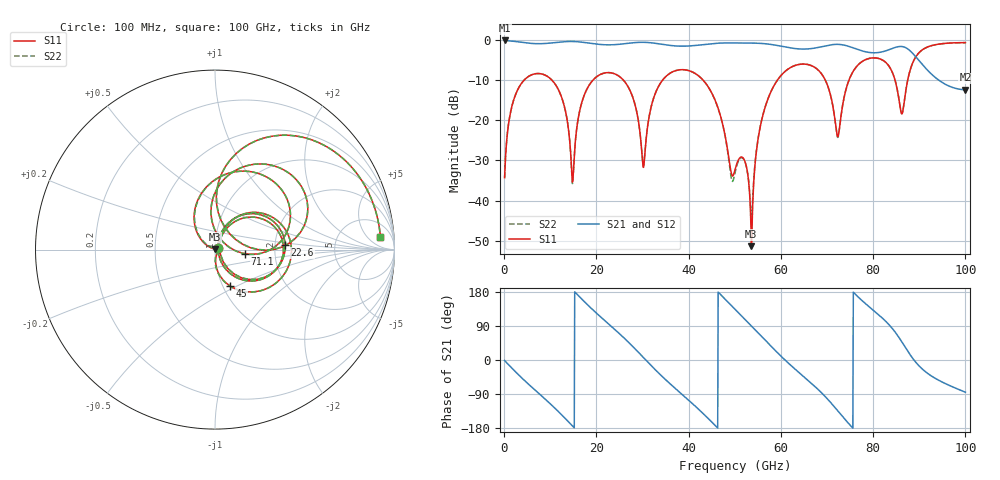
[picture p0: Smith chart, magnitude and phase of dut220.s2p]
! Touchstone file exported from HFSS 2026.1.0
!  File:  C:/ffzhzh/LocalFiles/Ansys_Project_Files/temp_train_TSV_RDL_220_1783662674_33328.aedt
!  Generated:  02:01:26 PM Jul 10, 2026
!  Design:  TSV_RDL
!  Project:  temp_train_TSV_RDL_220_1783662674_33328
! Variables:
!  h_bsmrdl = 4.4um
!  h_ox = 20um
!  h_rdl = 5um
!  h_sub = 69.68um
!  h_tmrdl = 2.47um
!  h_tsv = 69.68um
!  h_via = 3um
!  l_bsmrdl = 662.06um
!  l_sub = 3972.49um
!  l_tmrdl = 359.94um
!  m_sub = 200um
!  pitch = 43.27um
!  r_tsv = 12.16um
!  s_tmrdl = 10um
!  w_bsmrdl = 23.26um
!  w_sub = 500um
!  w_tmrdl = 25.59um
!  x_tsv_center1 = 372.735um
!  x_tsv_center2 = 1058.055um
!  x_tsv_center3 = 1443.585um
!  x_tsv_center4 = 2128.905um
!  x_tsv_center5 = 2514.435um
!  x_tsv_center6 = 3199.755um
# GHz S MA R 50.000000
! Terminal data exported
! Port[1] = TM_RDL1_1_T1
! Port[2] = TM_RDL5_1_T1
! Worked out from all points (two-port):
!   1000 points, 100 MHz to 100 GHz, reference 50 ohm
!   highest |S21| = -0.14 dB at 100 MHz (marker M1); lowest = -12.4 dB at 100 GHz (marker M2)
!   |S21| within 3 dB of the highest: start of sweep to 79.25 GHz; 81.16 GHz to 88.4 GHz (7.24 GHz wide, 8.54 % of centre)
!   lowest |S11| = -51.3 dB at 53.6 GHz (marker M3), VSWR 1.01, Z = 50.2 + j0.224 ohm
!   |S11| at or under -10 dB: 10.35 GHz to 19.27 GHz (8.919 GHz wide, 60.2 % of centre); 25.84 GHz to 34.36 GHz (8.512 GHz wide, 28.3 % of centre); 43.12 GHz to 59.25 GHz (16.13 GHz wide, 31.5 % of centre) (the widest 3 of 6)
!   |S22| runs from -44.5 to -0.7 dB; largest |S21 - S12| = 2.5e-13
!   S11 on the Smith chart (normalised r, x): 100 MHz: 1.03, +0.02; 22.6 GHz: 2.28, +0.14; 45 GHz: 1.08, -0.46; 71.1 GHz: 1.40, -0.06; 100 GHz: 13, +13
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0.1  0.01934 31.8  0.9838 -1.4  0.9838 -1.4  0.01934 31.8
! Gamma 0 0 0 0
! Port Impedance 50 0 50 0
2.7  0.2244 49.9  0.9504 -34.0  0.9504 -34.0  0.2244 49.9
8.5  0.3719 -11.0  0.8996 -98.9  0.8996 -98.9  0.3719 -11.1
12.6  0.1832 -54.3  0.9454 -146.3  0.9454 -146.3  0.1832 -54.5
14.8  0.01701 -5.4  0.9554 -173.8  0.9554 -173.8  0.01631 -5.8
16.8  0.1639 63.4  0.9374 161.1  0.9374 161.1  0.1638 63.7
22.6  0.3916 3.9  0.8678 95.6  0.8678 95.6  0.3916 4.1
30.2  0.02593 6.0  0.9331 6.5  0.9331 6.5  0.0274 6.0
33.4  0.2594 50.5  0.8958 -33.3  0.8958 -33.3  0.2596 50.2
39.3  0.4236 -9.0  0.836 -98.5  0.836 -98.5  0.4235 -9.2
45  0.219 -67.5  0.8973 -163.5  0.8973 -163.5  0.2186 -68.0
50.1  0.02479 -2.2  0.9162 133.5  0.9162 133.5  0.02284 3.5
53.6  0.002718 55.3  0.9126 90.3  0.9126 90.3  0.005961 73.9
57.6  0.211 123.5  0.882 39.8  0.882 39.8  0.2114 122.6
66.7  0.4761 29.0  0.7809 -62.4  0.7809 -62.4  0.4764 28.8
71.1  0.1687 -7.6  0.8721 -116.5  0.8721 -116.5  0.1687 -8.2
72.4  0.06307 51.6  0.8798 -135.1  0.8798 -135.1  0.06171 51.3
75.4  0.3813 84.0  0.8058 -177.2  0.8058 -177.2  0.3807 84.2
83.4  0.4744 10.2  0.7532 93.7  0.7532 93.7  0.4744 10.4
86.2  0.12 41.0  0.8272 48.3  0.8272 48.3  0.1218 41.2
87.8  0.378 87.0  0.7494 17.8  0.7494 17.8  0.3785 86.7
100  0.924 4.4  0.2398 -85.0  0.2398 -85.0  0.9239 4.4
